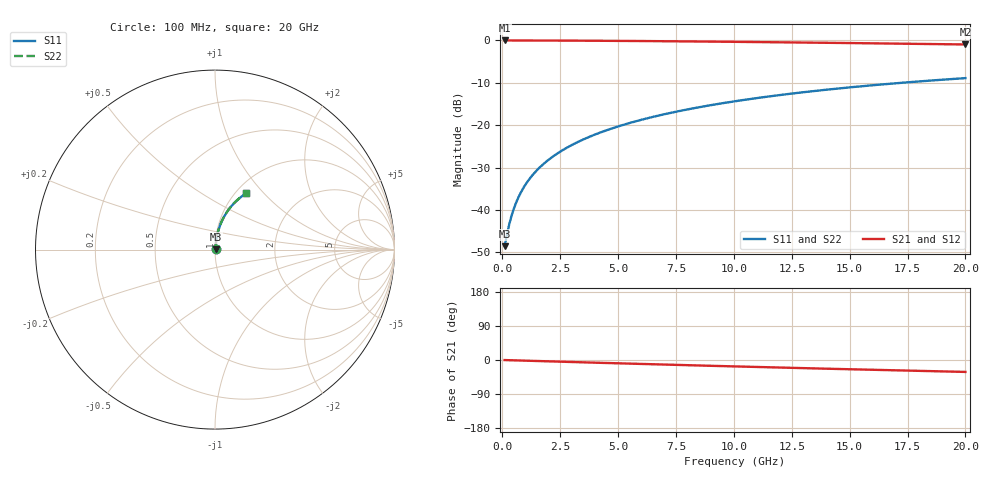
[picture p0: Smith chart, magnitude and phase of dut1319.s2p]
! Touchstone file exported from HFSS 2024.1.0
!  File:  C:/UserFiles/LocalFiles/RDL_TSV_Batchsim/temp_RDL_top_1319_1780364980.aedt
!  Generated:  09:51:52 AM Jun  2, 2026
!  Design:  RDL_top
!  Project:  temp_RDL_top_1319_1780364980
!  Setup:  Setup1
!  Solution:  Sweep
! Variables:
!  dtsv = 10.80580581um
!  hbump = 3um
!  htsv = 95.57um
!  ldown = 100um
!  lrdl = 413.85um
!  p = 40
!  p1 = 40.82um
!  rhole = 1um
!  t = 450um
!  tdown = 3.915915916um
!  trdl = 3.96um
!  wdown = 15.38538539um
!  wrdl = 12.13um
# GHz S MA R 50.000000
! Terminal data exported
! Port[1] = Box2_T1
! Port[2] = Box2_T2
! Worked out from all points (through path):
!   200 points, 100 MHz to 20 GHz, reference 50 ohm
!   highest |S21| = -0.03 dB at 100 MHz (marker M1); lowest = -1.0 dB at 20 GHz (marker M2)
!   group delay of S21, straight-line fit = 4.36 ps
!   lowest |S11| = -48.5 dB at 100 MHz (marker M3), VSWR 1.01, Z = 50.3 + j0.204 ohm
!   |S11| at or under -10 dB: start of sweep to 17.27 GHz
!   |S22| runs from -48.5 to -8.9 dB; largest |S21 - S12| = 3.8e-15
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0.1  0.003737 32.8  0.9969 -0.2  0.9969 -0.2  0.003737 32.8
! Gamma 0 0 0 0
! Port Impedance 50 0 50 0
0.2  0.005113 51.1  0.9968 -0.4  0.9968 -0.4  0.005109 51.1
0.3  0.006762 61.1  0.9967 -0.5  0.9967 -0.5  0.006758 61.2
0.4  0.008537 67.1  0.9966 -0.7  0.9966 -0.7  0.008534 67.1
0.5  0.01037 71.0  0.9965 -0.9  0.9965 -0.9  0.01037 71.0
0.6  0.01225 73.6  0.9964 -1.1  0.9964 -1.1  0.01225 73.6
0.8  0.01604 76.9  0.9962 -1.4  0.9962 -1.4  0.01605 76.9
1.1  0.02179 79.5  0.9959 -2.0  0.9959 -2.0  0.02179 79.5
1.5  0.02947 81.1  0.9954 -2.7  0.9954 -2.7  0.02948 81.1
1.8  0.03523 81.7  0.9949 -3.2  0.9949 -3.2  0.03524 81.7
2.1  0.04099 82.0  0.9943 -3.7  0.9943 -3.7  0.04099 82.0
2.7  0.05249 82.2  0.993 -4.8  0.993 -4.8  0.0525 82.2
3.5  0.06782 81.9  0.9909 -6.2  0.9909 -6.2  0.06782 81.9
4.2  0.08121 81.4  0.9886 -7.4  0.9886 -7.4  0.08121 81.4
5  0.09648 80.7  0.9856 -8.7  0.9856 -8.7  0.09649 80.7
5.9  0.1136 79.7  0.9819 -10.3  0.9819 -10.3  0.1136 79.7
6.8  0.1307 78.7  0.9777 -11.8  0.9777 -11.8  0.1307 78.7
8.3  0.1589 76.8  0.9701 -14.2  0.9701 -14.2  0.1589 76.8
10.1  0.1922 74.4  0.96 -17.0  0.96 -17.0  0.1922 74.5
13.4  0.2513 69.9  0.9396 -22.1  0.9396 -22.1  0.2514 70.0
16.7  0.307 65.4  0.9175 -26.9  0.9175 -26.9  0.307 65.4
20  0.3584 60.9  0.8942 -31.4  0.8942 -31.4  0.3585 61.0
